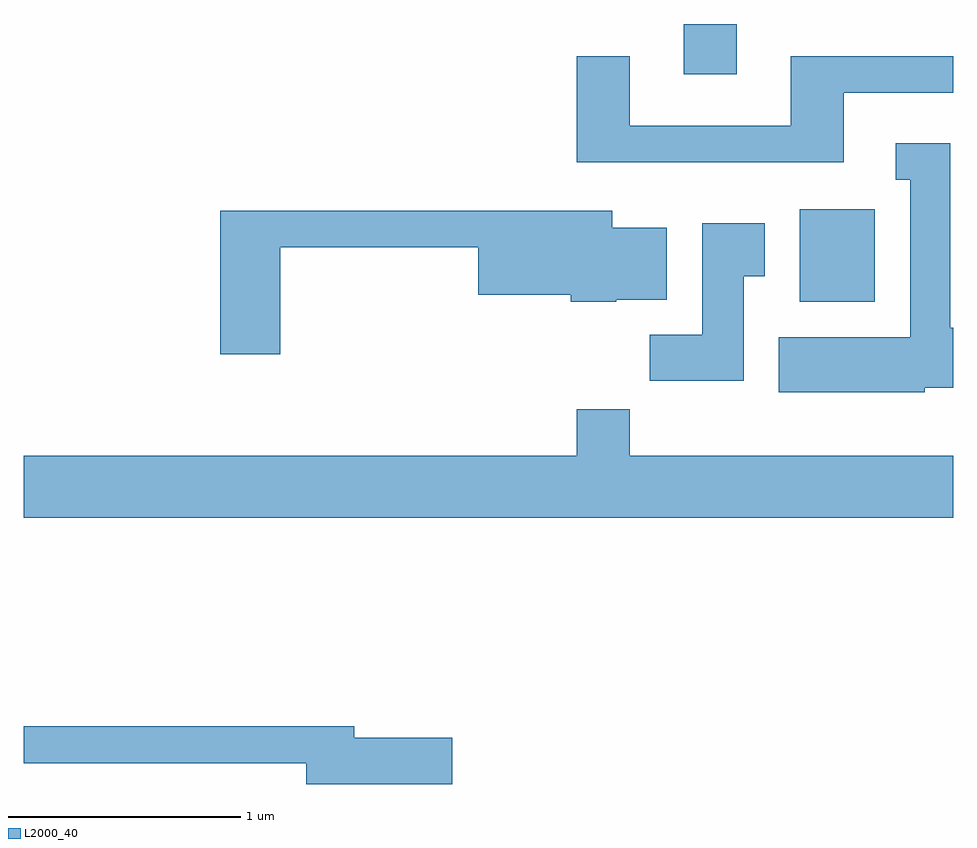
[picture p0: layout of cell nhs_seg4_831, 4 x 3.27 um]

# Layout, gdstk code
import gdstk
lib = gdstk.Library(unit=1e-6, precision=1e-09)
def R(c, l, rs):  # rectangles x0, y0, x1, y1
    for r in rs: c.add(gdstk.rectangle(r[:2], r[2:], *l))
def P(c, l, *ps):  # polygons
    for p in ps: c.add(gdstk.Polygon(p, *l))
L2000_40 = (2000, 40)

nhs_seg4_831 = lib.new_cell('nhs_seg4_831')
R(nhs_seg4_831, L2000_40, [(212.951,1286.786,213.274,1287.184), (212.451,1287.766,212.679,1287.982)])
P(nhs_seg4_831, L2000_40, [(213.139,1287.686),(213.611,1287.686),(213.611,1287.844),(212.911,1287.844),(212.911,1287.544),(212.219,1287.544),(212.219,1287.844),(211.991,1287.844),(211.991,1287.386),(213.139,1287.386)],
  [(213.489,1286.416),(213.611,1286.416),(213.611,1286.674),(213.599,1286.674),(213.599,1287.469),(213.363,1287.469),(213.363,1287.311),(213.426,1287.311),(213.426,1286.634),(212.861,1286.634),(212.861,1286.396),(213.489,1286.396)],
  [(210.714,1287.021),(211.566,1287.021),(211.566,1286.816),(211.966,1286.816),(211.966,1286.786),(212.16,1286.786),(212.16,1286.796),(212.379,1286.796),(212.379,1287.104),(212.144,1287.104),(212.144,1287.179),(210.456,1287.179),(210.456,1286.561),(210.714,1286.561)],
  [(212.709,1286.896),(212.799,1286.896),(212.799,1287.124),(212.531,1287.124),(212.531,1286.644),(212.306,1286.644),(212.306,1286.446),(212.709,1286.446)],
  [(213.611,1286.124),(212.219,1286.124),(212.219,1286.324),(211.991,1286.324),(211.991,1286.124),(209.611,1286.124),(209.611,1285.856),(213.611,1285.856)],
  [(211.454,1284.909),(211.034,1284.909),(211.034,1284.959),(209.611,1284.959),(209.611,1284.801),(210.826,1284.801),(210.826,1284.711),(211.454,1284.711)])

lib.write_gds('nhs_seg4_831.gds')
